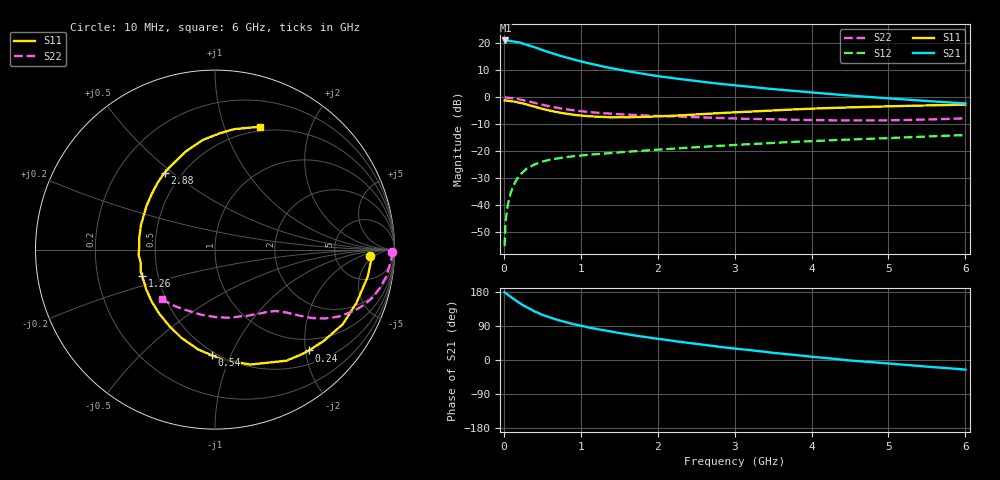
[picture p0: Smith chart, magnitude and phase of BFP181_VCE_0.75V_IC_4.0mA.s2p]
! Infineon Technologies  Discrete & RF Semiconductors
! BFP181
! VCE = 0.75V,  IC =  4.0 mA
! Common Emitter S-Parameters:  Jan 2016
# GHz  S  MA  R  50
!  f  S11  S21  S12  S22
! GHz  MAG  ANG  MAG  ANG  MAG  ANG  MAG  ANG
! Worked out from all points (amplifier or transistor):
!   210 points, 10 MHz to 6 GHz, reference 50 ohm
!   highest |S21| = 21.1 dB at 20 MHz (marker M1)
!   |S21| within 3 dB of that: start of sweep to 445 MHz
!   unconditionally stable (mu >= 1): 1.467 GHz to end of sweep
!   at 185 MHz: K = 0.17, MSG = 25.1 dB, |S12| = -29.8 dB
!   at 1.52 GHz: K = 1.02, MAG = 14.5 dB, |S12| = -20.5 dB
!   at 6 GHz: K = 1.19, MAG = 3.3 dB, |S12| = -14.1 dB
!   S11 on the Smith chart (normalised r, x): 10 MHz: 13, -3; 240 MHz: 0.76, -2.07; 540 MHz: 0.47, -0.85; 1.26 GHz: 0.41, -0.14; 2.88 GHz: 0.41, +0.47; 6 GHz: 0.45, +1.33
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0.01  0.8653 -2.2  11.34 178.7  0.0017 85.3  0.9843 -0.8
0.02  0.8711 -4.3  11.34 177.5  0.004 84.1  0.988 -1.9
0.05  0.8644 -10.0  11.29 172.5  0.0096 84.2  0.9794 -4.6
0.095  0.8433 -19.5  11.05 165.9  0.0174 78.9  0.9662 -8.6
0.15  0.8244 -30.3  10.72 157.7  0.0267 72.3  0.943 -13.2
0.2  0.7912 -40.0  10.42 150.9  0.0348 69.0  0.915 -17.2
0.24  0.7684 -47.0  9.992 145.8  0.0395 64.6  0.8877 -20.0
0.3  0.7357 -57.3  9.431 139.2  0.0471 60.1  0.8477 -23.7
0.4  0.6699 -73.0  8.477 128.1  0.0563 53.2  0.7825 -28.5
0.5  0.6095 -87.2  7.537 119.3  0.0634 47.8  0.7223 -32.1
0.54  0.5881 -91.9  7.227 116.6  0.0656 46.4  0.702 -33.1
0.72  0.5187 -112.8  5.954 104.6  0.0735 40.8  0.6252 -36.8
0.9  0.4734 -130.9  5.055 94.9  0.0801 37.4  0.5732 -39.1
1.02  0.4533 -142.0  4.548 89.3  0.0827 35.8  0.5456 -40.5
1.26  0.4321 -160.4  3.792 79.9  0.0885 33.4  0.5085 -43.0
1.52  0.4255 -177.1  3.215 70.6  0.0947 32.3  0.4802 -45.4
2.02  0.4388 155.2  2.446 55.5  0.1064 30.8  0.4473 -51.5
2.88  0.5119 123.0  1.733 33.0  0.1265 27.1  0.4073 -65.2
3.1  0.5306 116.6  1.612 28.2  0.1318 26.0  0.3979 -69.3
4.1  0.6199 94.6  1.195 6.8  0.155 20.5  0.3742 -91.3
5.1  0.683 79.9  0.928 -10.9  0.176 14.9  0.3733 -115.7
6  0.7289 69.9  0.764 -25.3  0.1978 9.1  0.4054 -137.0
